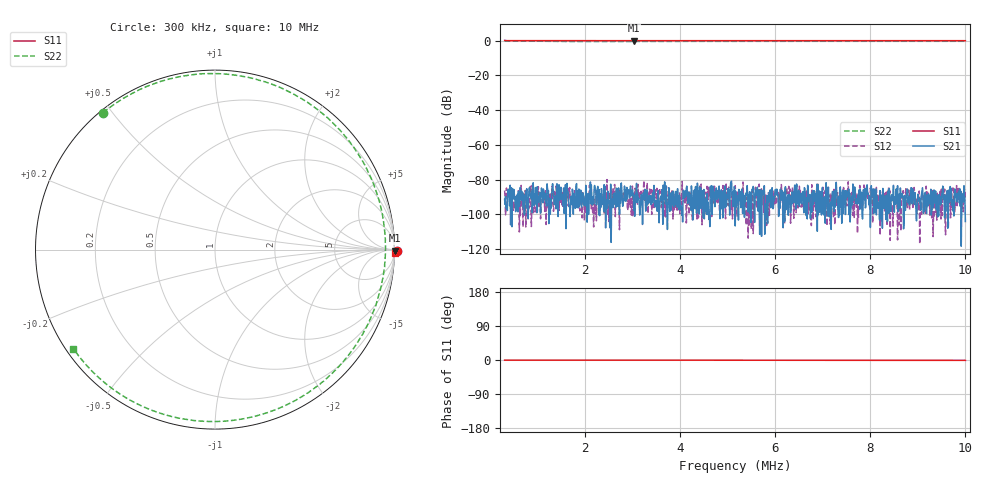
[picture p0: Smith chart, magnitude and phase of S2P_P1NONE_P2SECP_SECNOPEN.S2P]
!Keysight Technologies,E5061B,MY49709559,B.05.06
!Date: Thu Apr 07 18:57:13 2022
!Data & Calibration Information:
!Freq	S11:SOLT2(ON)	S21:SOLT2(ON)	S12:SOLT2(ON)	S22:SOLT2(ON)
# Hz S RI R 50
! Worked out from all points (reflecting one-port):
!   1000 points, 300 kHz to 10 MHz, reference 50 ohm
!   lowest |S11| = 0.0 dB at 3.028 MHz (marker M1)
!   phase of S11 starts at -0 deg and turns -1 deg over the sweep
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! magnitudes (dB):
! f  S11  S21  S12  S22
! 300 kHz  0.1  -91.4  -86.4  -0.1
! 368 kHz  0.1  -87.0  -89.0  -0.1
! 445.6 kHz  0.1  -87.8  -93.6  -0.1
! 571.9 kHz  0.0  -88.5  -94.6  -0.2
! 843.7 kHz  0.0  -89.8  -83.9  -0.3
! 989.4 kHz  0.0  -84.1  -98.4  -0.3
! 1.252 MHz  0.0  -90.9  -95.0  -0.4
! 1.426 MHz  0.0  -101.3  -85.0  -0.4
! 1.543 MHz  0.0  -84.9  -89.7  -0.4
! 1.63 MHz  0.0  -87.0  -85.2  -0.4
! 1.824 MHz  0.0  -96.2  -89.1  -0.5
! 1.922 MHz  0.0  -95.9  -91.9  -0.5
! 2.271 MHz  0.0  -89.6  -88.2  -0.5
! 2.825 MHz  0.0  -83.8  -85.8  -0.4
! 3.028 MHz  0.0  -89.5  -87.7  -0.4
! 3.543 MHz  0.0  -94.1  -91.5  -0.4
! 4.339 MHz  0.0  -99.4  -86.2  -0.4
! 5.155 MHz  0.0  -106.8  -83.6  -0.3
! 5.776 MHz  0.0  -111.5  -99.9  -0.3
! 6.767 MHz  0.0  -98.8  -83.0  -0.3
! 8.388 MHz  0.0  -99.4  -84.1  -0.3
! 10 MHz  0.0  -104.2  -85.6  -0.3
